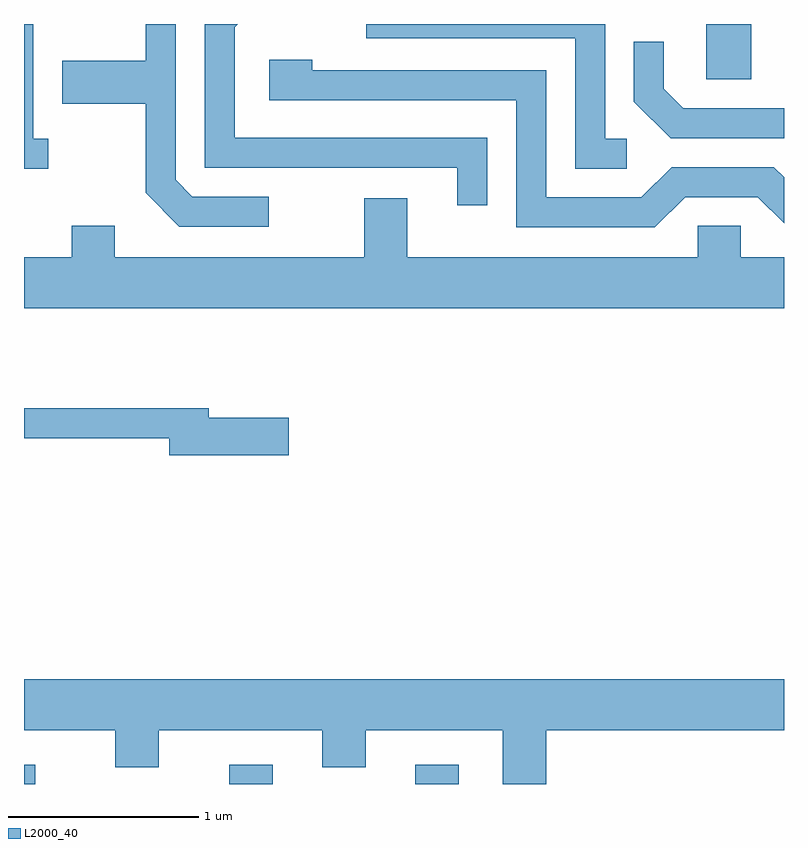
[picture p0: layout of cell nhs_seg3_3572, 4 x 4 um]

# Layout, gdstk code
import gdstk
lib = gdstk.Library(unit=1e-6, precision=1e-09)
def R(c, l, rs):  # rectangles x0, y0, x1, y1
    for r in rs: c.add(gdstk.rectangle(r[:2], r[2:], *l))
def P(c, l, *ps):  # polygons
    for p in ps: c.add(gdstk.Polygon(p, *l))
L2000_40 = (2000, 40)

nhs_seg3_3572 = lib.new_cell('nhs_seg3_3572')
R(nhs_seg3_3572, L2000_40, [(289.611,1187.892,289.669,1187.994), (290.691,1187.892,290.919,1187.994), (291.671,1187.892,291.899,1187.994), (293.201,1191.601,293.439,1191.892)])
P(nhs_seg3_3572, L2000_40, [(292.049,1191.294),(290.719,1191.294),(290.719,1191.874),(290.737,1191.892),(290.561,1191.892),(290.561,1191.136),(291.891,1191.136),(291.891,1190.938),(292.049,1190.938)],
  [(289.738,1191.289),(289.659,1191.289),(289.659,1191.892),(289.611,1191.892),(289.611,1191.131),(289.738,1191.131)],
  [(290.898,1190.984),(290.497,1190.984),(290.409,1191.072),(290.409,1191.892),(290.251,1191.892),(290.251,1191.699),(289.811,1191.699),(289.811,1191.471),(290.251,1191.471),(290.251,1191.004),(290.429,1190.826),(290.898,1190.826)],
  [(292.783,1191.289),(292.669,1191.289),(292.669,1191.892),(291.413,1191.892),(291.413,1191.816),(292.511,1191.816),(292.511,1191.131),(292.783,1191.131)],
  [(293.611,1191.449),(293.082,1191.449),(292.979,1191.552),(292.979,1191.798),(292.821,1191.798),(292.821,1191.484),(293.014,1191.291),(293.611,1191.291)],
  [(293.092,1190.981),(293.474,1190.981),(293.611,1190.844),(293.611,1191.085),(293.557,1191.139),(293.019,1191.139),(292.859,1190.979),(292.359,1190.979),(292.359,1191.649),(291.129,1191.649),(291.129,1191.704),(290.901,1191.704),(290.901,1191.491),(292.201,1191.491),(292.201,1190.821),(292.932,1190.821)],
  [(293.611,1190.664),(293.384,1190.664),(293.384,1190.829),(293.156,1190.829),(293.156,1190.664),(291.629,1190.664),(291.629,1190.974),(291.401,1190.974),(291.401,1190.664),(290.089,1190.664),(290.089,1190.829),(289.861,1190.829),(289.861,1190.664),(289.611,1190.664),(289.611,1190.396),(293.611,1190.396)],
  [(291.004,1189.819),(290.584,1189.819),(290.584,1189.869),(289.611,1189.869),(289.611,1189.711),(290.376,1189.711),(290.376,1189.621),(291.004,1189.621)],
  [(292.359,1188.176),(293.611,1188.176),(293.611,1188.444),(289.611,1188.444),(289.611,1188.176),(290.091,1188.176),(290.091,1187.981),(290.319,1187.981),(290.319,1188.176),(291.181,1188.176),(291.181,1187.981),(291.409,1187.981),(291.409,1188.176),(292.131,1188.176),(292.131,1187.892),(292.359,1187.892)])

lib.write_gds('nhs_seg3_3572.gds')
